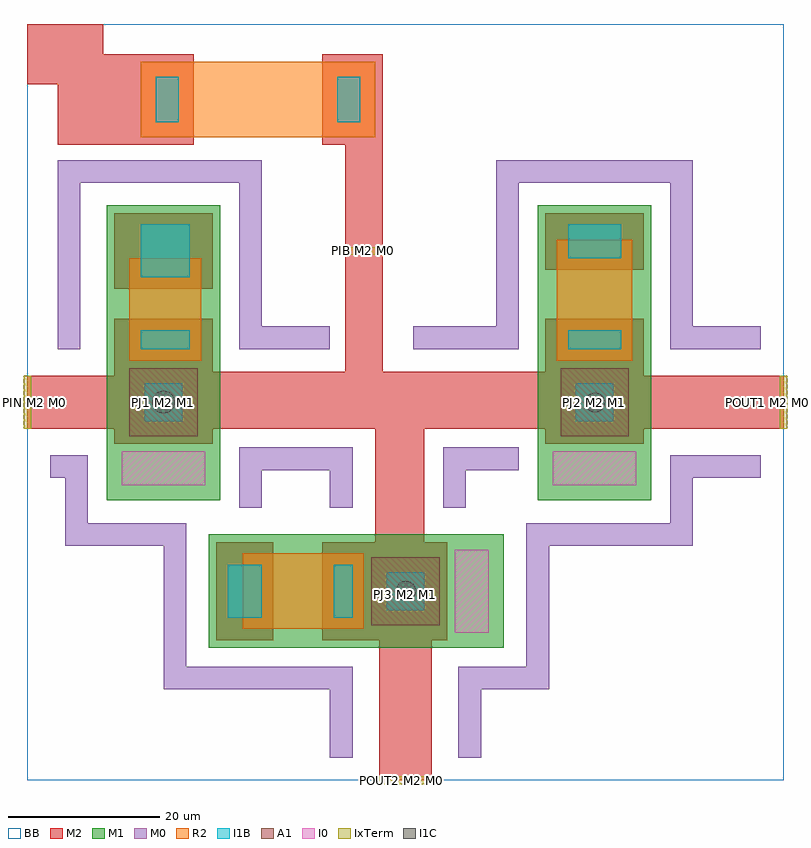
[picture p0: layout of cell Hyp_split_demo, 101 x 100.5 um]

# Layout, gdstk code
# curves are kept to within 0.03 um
from math import pi, radians
import gdstk
lib = gdstk.Library(unit=1e-6, precision=1e-09)
def R(c, l, rs):  # rectangles x0, y0, x1, y1
    for r in rs: c.add(gdstk.rectangle(r[:2], r[2:], *l))
def P(c, l, *ps):  # polygons
    for p in ps: c.add(gdstk.Polygon(p, *l))
M1 = (1, 0)
BB = (1, 3)
I1B = (3, 0)
I1C = (4, 0)
A1 = (5, 0)
M2 = (6, 0)
R2 = (9, 0)
M0 = (30, 0)
I0 = (31, 0)
IxTerm = (63, 0)

su45_jj325s = lib.new_cell('SU45_JJ325S')
R(su45_jj325s, M1, [(-5,-4,10,28.5)])
R(su45_jj325s, I1B, [(0,0,5,5), (-0.5,9.5,6,12), (-0.5,19,6,26)])
P(su45_jj325s, I1C, [(2.3,1),(1.9,1.1),(1.7,1.2),(1.3,1.6),(1.1,1.9),(1,2.3),(1,2.7),(1.1,3.1),(1.2,3.3),(1.7,3.8),(1.9,3.9),(2.3,4),(2.7,4),(3.1,3.9),(3.3,3.8),(3.7,3.4),(3.9,3.1),(4,2.7),(4,2.3),(3.9,1.9),(3.8,1.7),(3.4,1.3),(3.1,1.1),(2.7,1)])
R(su45_jj325s, A1, [(-2,-2,7,7)])
R(su45_jj325s, M2, [(-4,-3,9,13.5), (-4,17.5,9,27.5)])
R(su45_jj325s, R2, [(-2,8,7.5,21.5)])
su45_jj325s.add(gdstk.Label('1.54', (2.5,15), layer=64, texttype=0))
su45_jj325s.add(gdstk.Label('JJ325', (-2.5,-3), layer=64, texttype=0))

su45_jj250s = lib.new_cell('SU45_JJ250S')
R(su45_jj250s, M1, [(-5,-4,10,28.5)])
R(su45_jj250s, I1B, [(0,0,5,5), (-1,9.5,6,12), (-1,21.5,6,26)])
P(su45_jj250s, I1C, [(2.5,1.1),(2,1.2),(1.6,1.5),(1.3,1.9),(1.2,2.5),(1.3,3),(1.6,3.4),(1.9,3.6),(2.6,3.8),(3.2,3.6),(3.5,3.4),(3.8,3),(3.9,2.5),(3.8,2),(3.5,1.5),(3.1,1.2)])
R(su45_jj250s, A1, [(-2,-2,7,7)])
R(su45_jj250s, M2, [(-4,-3,9,13.5), (-4,20,9,27.5)])
R(su45_jj250s, R2, [(-2.5,8,7.5,24)])
su45_jj250s.add(gdstk.Label('JJ250', (-2.5,-3), layer=64, texttype=0))
su45_jj250s.add(gdstk.Label('2.0', (0,15), layer=64, texttype=0))

su45_gnd = lib.new_cell('SU45_GND')
R(su45_gnd, M1, [(0,0,15,6.5)])
R(su45_gnd, I0, [(2,0,13,4.5)])

su45_rterm = lib.new_cell('SU45_RTERM')
R(su45_rterm, I1B, [(-3,0,0,6)])
R(su45_rterm, M2, [(-6,-3,2,9)])
R(su45_rterm, R2, [(-5,-2,0,8)])

hyp_split_demo = lib.new_cell('Hyp_split_demo')
R(hyp_split_demo, BB, [(0,0,100,100)])
R(hyp_split_demo, M2, [(46.5,0,53.5,18.5), (46,31.5,52.5,46.5), (0,46.5,11.5,53.5), (24.5,46.5,68.5,54), (81.5,46.5,100,53.5), (42,54,47,84), (4,84,10,92), (10,84,14,96), (0,92,10,100)])
R(hyp_split_demo, R2, [(20,85,41,95)])
R(hyp_split_demo, M0, [(40,3,43,12), (57,3,60,15), (18,12,21,31), (21,12,43,15), (60,12,69,15), (66,15,69,34), (5,31,8,40), (8,31,21,34), (69,31,88,34), (85,34,88,43), (28,36,31,44), (40,36,43,41), (55,36,58,44), (3,40,8,43), (88,40,97,43), (31,41,43,44), (58,41,65,44), (4,57,7,79), (28,57,40,60), (51,57,62,60), (62,57,65,79), (85,57,88,79), (88,57,97,60), (28,60,31,79), (4,79,31,82), (62,79,88,82)])
hyp_split_demo.add(gdstk.FlexPath([(0,53.5),(0,46.5)], 1, ends="flush", simple_path=True, layer=63, datatype=0))  # IxTerm
hyp_split_demo.add(gdstk.FlexPath([(100,53.5),(100,46.5)], 1, ends="flush", simple_path=True, layer=63, datatype=0))  # IxTerm
hyp_split_demo.add(gdstk.FlexPath([(46.5,0),(53.5,0)], 1, ends="flush", simple_path=True, layer=63, datatype=0))  # IxTerm
hyp_split_demo.add(gdstk.FlexPath([(42,70),(47,70)], 1, ends="flush", simple_path=True, layer=63, datatype=0))  # IxTerm
hyp_split_demo.add(gdstk.Reference(su45_jj325s, (15.5,47.5)))
hyp_split_demo.add(gdstk.Reference(su45_jj250s, (72.5,47.5)))
hyp_split_demo.add(gdstk.Reference(su45_jj250s, (52.5,22.5), rotation=pi/2))
hyp_split_demo.add(gdstk.Reference(su45_gnd, (10.5,43.5), x_reflection=True))
hyp_split_demo.add(gdstk.Reference(su45_gnd, (67.5,43.5), x_reflection=True))
hyp_split_demo.add(gdstk.Reference(su45_gnd, (56.5,17.5), rotation=pi/2, x_reflection=True))
hyp_split_demo.add(gdstk.Reference(su45_rterm, (41,87), rotation=pi, x_reflection=True))
hyp_split_demo.add(gdstk.Reference(su45_rterm, (20,87)))
hyp_split_demo.add(gdstk.Label('PIN M2 M0', (0,50), layer=64, texttype=0))
hyp_split_demo.add(gdstk.Label('PIB M2 M0', (44.5,70), layer=64, texttype=0))
hyp_split_demo.add(gdstk.Label('POUT2 M2 M0', (49.5,0), layer=64, texttype=0))
hyp_split_demo.add(gdstk.Label('POUT1 M2 M0', (100,50), layer=64, texttype=0))
hyp_split_demo.add(gdstk.Label('PJ1 M2 M1', (18,50), layer=64, texttype=0))
hyp_split_demo.add(gdstk.Label('PJ2 M2 M1', (75,50), layer=64, texttype=0))
hyp_split_demo.add(gdstk.Label('PJ3 M2 M1', (50,24.5), layer=64, texttype=0))

lib.write_gds('Hyp_split_demo.gds')
